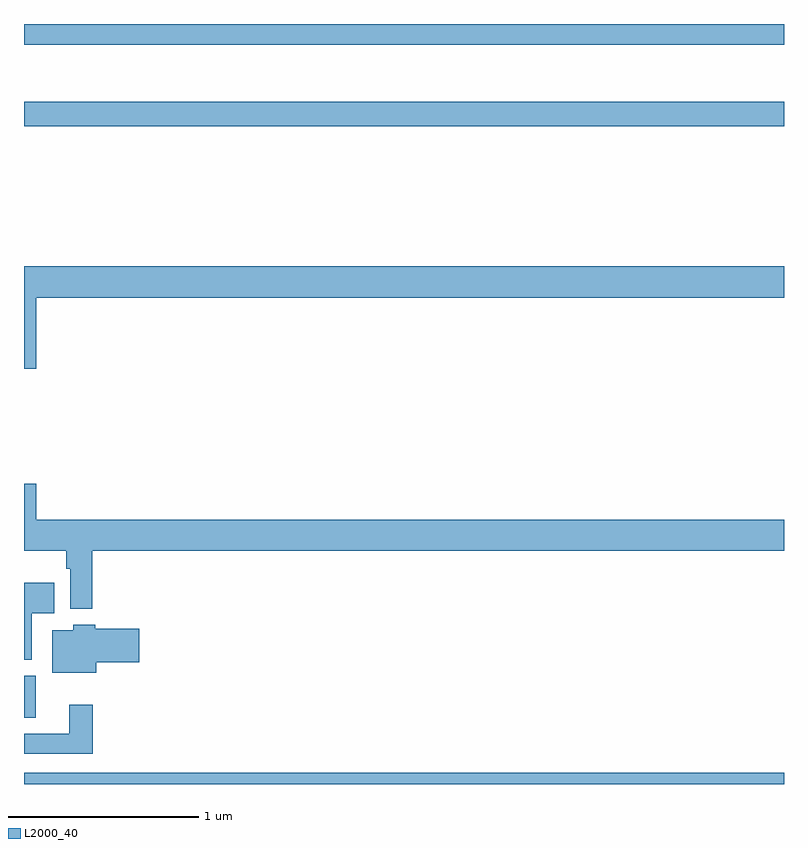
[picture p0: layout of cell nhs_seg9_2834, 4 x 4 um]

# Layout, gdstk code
import gdstk
lib = gdstk.Library(unit=1e-6, precision=1e-09)
def R(c, l, rs):  # rectangles x0, y0, x1, y1
    for r in rs: c.add(gdstk.rectangle(r[:2], r[2:], *l))
def P(c, l, *ps):  # polygons
    for p in ps: c.add(gdstk.Polygon(p, *l))
L2000_40 = (2000, 40)

nhs_seg9_2834 = lib.new_cell('nhs_seg9_2834')
R(nhs_seg9_2834, L2000_40, [(273,1220.5,277,1220.56), (273,1220.849,273.061,1221.069), (273,1223.962,277,1224.091), (273,1224.392,277,1224.5)])
P(nhs_seg9_2834, L2000_40, [(273.064,1223.06),(277,1223.06),(277,1223.224),(273,1223.224),(273,1222.686),(273.064,1222.686)],
  [(273.359,1221.728),(277,1221.728),(277,1221.892),(273.064,1221.892),(273.064,1222.081),(273,1222.081),(273,1221.728),(273.223,1221.728),(273.223,1221.632),(273.243,1221.632),(273.243,1221.422),(273.359,1221.422)],
  [(273.04,1221.398),(273.158,1221.398),(273.158,1221.559),(273,1221.559),(273,1221.154),(273.04,1221.154)],
  [(273.379,1221.14),(273.607,1221.14),(273.607,1221.318),(273.375,1221.318),(273.375,1221.337),(273.258,1221.337),(273.258,1221.31),(273.149,1221.31),(273.149,1221.086),(273.379,1221.086)],
  [(273.361,1220.917),(273.239,1220.917),(273.239,1220.764),(273,1220.764),(273,1220.66),(273.361,1220.66)])

lib.write_gds('nhs_seg9_2834.gds')
